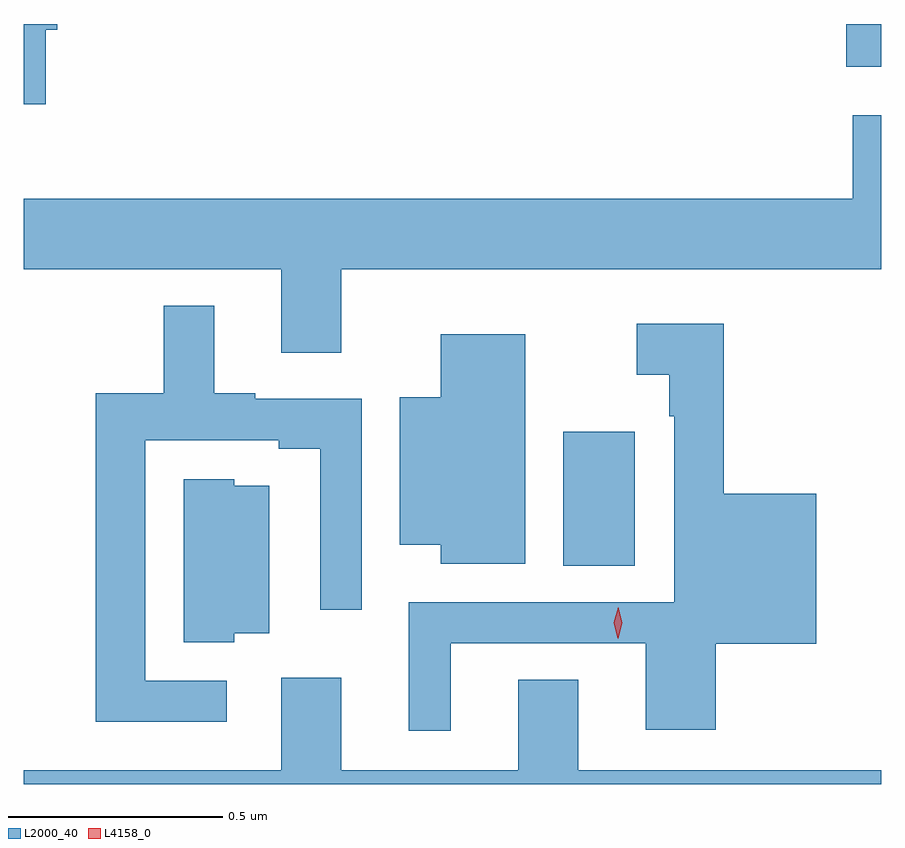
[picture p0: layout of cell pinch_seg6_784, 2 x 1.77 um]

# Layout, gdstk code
import gdstk
lib = gdstk.Library(unit=1e-6, precision=1e-09)
def R(c, l, rs):  # rectangles x0, y0, x1, y1
    for r in rs: c.add(gdstk.rectangle(r[:2], r[2:], *l))
def P(c, l, *ps):  # polygons
    for p in ps: c.add(gdstk.Polygon(p, *l))
L2000_40 = (2000, 40)
L4158_0 = (4158, 0)

pinch_seg6_784 = lib.new_cell('pinch_seg6_784')
R(pinch_seg6_784, L2000_40, [(613.13,916.009,613.297,916.321), (613.79,917.172,613.872,917.272)])
P(pinch_seg6_784, L2000_40, [(611.924,917.259),(611.951,917.259),(611.951,917.272),(611.872,917.272),(611.872,917.085),(611.924,917.085)],
  [(612.613,916.7),(613.872,916.7),(613.872,917.059),(613.805,917.059),(613.805,916.864),(611.872,916.864),(611.872,916.7),(612.473,916.7),(612.473,916.506),(612.613,916.506)],
  [(612.346,915.741),(612.156,915.741),(612.156,916.302),(612.467,916.302),(612.467,916.282),(612.564,916.282),(612.564,915.906),(612.66,915.906),(612.66,916.398),(612.412,916.398),(612.412,916.411),(612.316,916.411),(612.316,916.615),(612.199,916.615),(612.199,916.411),(612.04,916.411),(612.04,915.645),(612.346,915.645)],
  [(612.868,915.828),(613.322,915.828),(613.322,915.627),(613.486,915.627),(613.486,915.827),(613.72,915.827),(613.72,916.177),(613.505,916.177),(613.505,916.573),(613.302,916.573),(613.302,916.454),(613.377,916.454),(613.377,916.358),(613.389,916.358),(613.389,915.924),(612.77,915.924),(612.77,915.624),(612.868,915.624)],
  [(613.042,916.549),(612.845,916.549),(612.845,916.402),(612.749,916.402),(612.749,916.058),(612.845,916.058),(612.845,916.013),(613.042,916.013)],
  [(612.363,915.851),(612.445,915.851),(612.445,916.195),(612.363,916.195),(612.363,916.21),(612.245,916.21),(612.245,915.83),(612.363,915.83)],
  [(613.872,915.532),(613.165,915.532),(613.165,915.743),(613.025,915.743),(613.025,915.532),(612.613,915.532),(612.613,915.748),(612.473,915.748),(612.473,915.532),(611.872,915.532),(611.872,915.5),(613.872,915.5)])
P(pinch_seg6_784, L4158_0, [(613.258,915.839),(613.257,915.84),(613.248,915.876),(613.258,915.912),(613.258,915.912),(613.259,915.912),(613.268,915.876),(613.258,915.84)])

lib.write_gds('pinch_seg6_784.gds')
